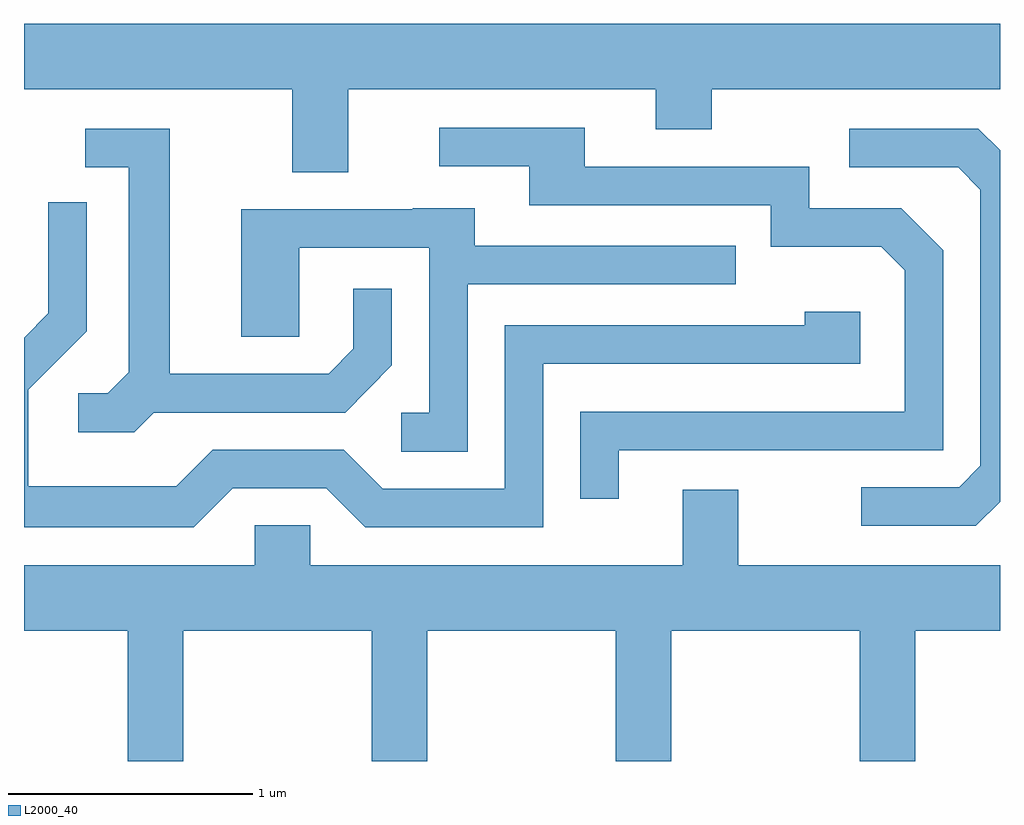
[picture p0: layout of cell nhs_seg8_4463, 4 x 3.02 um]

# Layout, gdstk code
import gdstk
lib = gdstk.Library(unit=1e-6, precision=1e-09)
def P(c, l, *ps):  # polygons
    for p in ps: c.add(gdstk.Polygon(p, *l))
L2000_40 = (2000, 40)

nhs_seg8_4463 = lib.new_cell('nhs_seg8_4463')
P(nhs_seg8_4463, L2000_40, [(320.939,1823.096),(322.201,1823.096),(322.201,1822.931),(322.429,1822.931),(322.429,1823.096),(323.611,1823.096),(323.611,1823.364),(319.611,1823.364),(319.611,1823.096),(320.711,1823.096),(320.711,1822.756),(320.939,1822.756)],
  [(322.049,1821.616),(323.379,1821.616),(323.379,1822.437),(323.207,1822.609),(322.829,1822.609),(322.829,1822.779),(321.909,1822.779),(321.909,1822.939),(321.313,1822.939),(321.313,1822.781),(321.681,1822.781),(321.681,1822.621),(322.671,1822.621),(322.671,1822.451),(323.124,1822.451),(323.221,1822.354),(323.221,1821.774),(321.891,1821.774),(321.891,1821.418),(322.049,1821.418)],
  [(320.142,1821.771),(320.927,1821.771),(321.119,1821.964),(321.119,1822.278),(320.961,1822.278),(320.961,1822.032),(320.859,1821.929),(320.209,1821.929),(320.209,1822.934),(319.863,1822.934),(319.863,1822.776),(320.041,1822.776),(320.041,1821.937),(319.954,1821.849),(319.833,1821.849),(319.833,1821.691),(320.062,1821.691)],
  [(323.611,1821.406),(323.611,1822.845),(323.522,1822.934),(322.993,1822.934),(322.993,1822.776),(323.439,1822.776),(323.531,1822.684),(323.531,1821.552),(323.444,1821.464),(323.043,1821.464),(323.043,1821.306),(323.512,1821.306)],
  [(320.467,1821.461),(320.849,1821.461),(321.009,1821.301),(321.739,1821.301),(321.739,1821.971),(323.039,1821.971),(323.039,1822.184),(322.811,1822.184),(322.811,1822.129),(321.581,1822.129),(321.581,1821.459),(321.082,1821.459),(320.922,1821.619),(320.384,1821.619),(320.234,1821.469),(319.629,1821.469),(319.629,1821.864),(319.869,1822.104),(319.869,1822.633),(319.711,1822.633),(319.711,1822.177),(319.611,1822.077),(319.611,1821.301),(320.307,1821.301)],
  [(321.429,1822.296),(322.528,1822.296),(322.528,1822.454),(321.459,1822.454),(321.459,1822.609),(321.205,1822.609),(321.205,1822.604),(320.501,1822.604),(320.501,1822.081),(320.739,1822.081),(320.739,1822.446),(321.271,1822.446),(321.271,1821.769),(321.158,1821.769),(321.158,1821.611),(321.429,1821.611)],
  [(320.264,1820.876),(321.036,1820.876),(321.036,1820.342),(321.264,1820.342),(321.264,1820.876),(322.036,1820.876),(322.036,1820.342),(322.264,1820.342),(322.264,1820.876),(323.036,1820.876),(323.036,1820.342),(323.264,1820.342),(323.264,1820.876),(323.611,1820.876),(323.611,1821.144),(322.539,1821.144),(322.539,1821.454),(322.311,1821.454),(322.311,1821.144),(320.784,1821.144),(320.784,1821.309),(320.556,1821.309),(320.556,1821.144),(319.611,1821.144),(319.611,1820.876),(320.036,1820.876),(320.036,1820.342),(320.264,1820.342)])

lib.write_gds('nhs_seg8_4463.gds')
